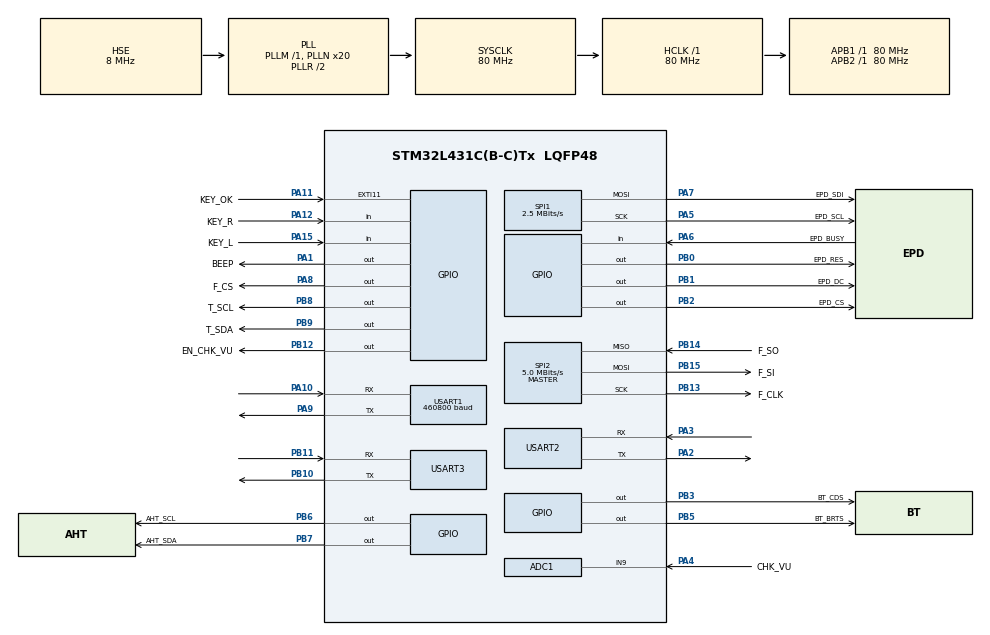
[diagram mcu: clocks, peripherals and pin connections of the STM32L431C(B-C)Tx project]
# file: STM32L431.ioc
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ADC1.Channel-1\#ChannelRegularConversion=ADC_CHANNEL_9
ADC1.NbrOfConversionFlag=1
ADC1.OffsetNumber-1\#ChannelRegularConversion=ADC_OFFSET_NONE
ADC1.Rank-1\#ChannelRegularConversion=1
ADC1.SamplingTime-1\#ChannelRegularConversion=ADC_SAMPLETIME_12CYCLES_5
ADC1.master=1
Dma.Request0=USART1_RX
Dma.Request1=USART1_TX
Dma.USART1_RX.0.Direction=DMA_PERIPH_TO_MEMORY
Dma.USART1_RX.0.Instance=DMA1_Channel5
Dma.USART1_RX.0.MemDataAlignment=DMA_MDATAALIGN_BYTE
Dma.USART1_RX.0.MemInc=DMA_MINC_ENABLE
Dma.USART1_RX.0.Mode=DMA_CIRCULAR
Dma.USART1_RX.0.PeriphDataAlignment=DMA_PDATAALIGN_BYTE
Dma.USART1_RX.0.PeriphInc=DMA_PINC_DISABLE
Dma.USART1_RX.0.Priority=DMA_PRIORITY_LOW
Dma.USART1_TX.1.Direction=DMA_MEMORY_TO_PERIPH
Dma.USART1_TX.1.Instance=DMA1_Channel4
Dma.USART1_TX.1.MemDataAlignment=DMA_MDATAALIGN_BYTE
Dma.USART1_TX.1.MemInc=DMA_MINC_ENABLE
Dma.USART1_TX.1.Mode=DMA_NORMAL
Dma.USART1_TX.1.PeriphDataAlignment=DMA_PDATAALIGN_BYTE
Dma.USART1_TX.1.PeriphInc=DMA_PINC_DISABLE
Dma.USART1_TX.1.Priority=DMA_PRIORITY_LOW
FREERTOS.Tasks01=defaultTask,0,128,StartDefaultTask,Default,NULL,Dynamic,NULL,NULL
FREERTOS.configMAX_PRIORITIES=16
FREERTOS.configTOTAL_HEAP_SIZE=15360
FREERTOS.configUSE_TICKLESS_IDLE=1
Mcu.Family=STM32L4
Mcu.Name=STM32L431C(B-C)Tx
Mcu.Package=LQFP48
NVIC.DMA1_Channel4_IRQn=true\:9\:0\:true\:false\:true\:true\:false\:true\:true
NVIC.DMA1_Channel5_IRQn=true\:9\:0\:true\:false\:true\:true\:false\:true\:true
NVIC.EXTI15_10_IRQn=true\:9\:0\:true\:false\:true\:true\:true\:true\:true
NVIC.PriorityGroup=NVIC_PRIORITYGROUP_4
NVIC.RTC_Alarm_IRQn=true\:10\:0\:true\:false\:true\:true\:true\:true\:true
NVIC.TIM1_UP_TIM16_IRQn=true\:15\:0\:false\:false\:true\:false\:false\:true\:true
NVIC.TimeBase=TIM1_UP_TIM16_IRQn
NVIC.TimeBaseIP=TIM1
NVIC.USART1_IRQn=true\:7\:0\:true\:false\:true\:true\:true\:true\:true
NVIC.USART2_IRQn=true\:7\:0\:true\:false\:true\:true\:true\:true\:true
PA1.GPIO_Label=BEEP
PA1.GPIO_ModeDefaultOutputPP=GPIO_MODE_OUTPUT_PP
PA1.GPIO_PuPd=GPIO_PULLUP
PA1.GPIO_Speed=GPIO_SPEED_FREQ_HIGH
PA1.PinState=GPIO_PIN_RESET
PA1.Signal=GPIO_Output
PA10.Mode=Asynchronous
PA10.Signal=USART1_RX
PA11.GPIO_Label=KEY_OK
PA11.GPIO_PuPd=GPIO_PULLUP
PA11.Signal=GPXTI11
PA12.GPIO_Label=KEY_R
PA12.GPIO_PuPd=GPIO_PULLUP
PA12.Signal=GPIO_Input
PA13\ (JTMS-SWDIO).Mode=Serial_Wire
PA13\ (JTMS-SWDIO).Signal=SYS_JTMS-SWDIO
PA14\ (JTCK-SWCLK).Mode=Serial_Wire
PA14\ (JTCK-SWCLK).Signal=SYS_JTCK-SWCLK
PA15\ (JTDI).GPIO_Label=KEY_L
PA15\ (JTDI).GPIO_PuPd=GPIO_PULLUP
PA15\ (JTDI).Signal=GPIO_Input
PA2.Mode=Asynchronous
PA2.Signal=USART2_TX
PA3.Mode=Asynchronous
PA3.Signal=USART2_RX
PA4.GPIO_Label=CHK_VU
PA4.Signal=ADCx_IN9
PA5.GPIO_Label=EPD_SCL
PA5.Mode=TX_Only_Simplex_Unidirect_Master
PA5.Signal=SPI1_SCK
PA6.GPIO_Label=EPD_BUSY
PA6.GPIO_PuPd=GPIO_PULLDOWN
PA6.Signal=GPIO_Input
PA7.GPIO_Label=EPD_SDI
PA7.Mode=TX_Only_Simplex_Unidirect_Master
PA7.Signal=SPI1_MOSI
PA8.GPIO_Label=F_CS
PA8.GPIO_Speed=GPIO_SPEED_FREQ_HIGH
PA8.Signal=GPIO_Output
PA9.Mode=Asynchronous
PA9.Signal=USART1_TX
PB0.GPIO_Label=EPD_RES
PB0.GPIO_Speed=GPIO_SPEED_FREQ_HIGH
PB0.PinState=GPIO_PIN_RESET
PB0.Signal=GPIO_Output
PB1.GPIO_Label=EPD_DC
PB1.GPIO_Speed=GPIO_SPEED_FREQ_HIGH
PB1.Signal=GPIO_Output
PB10.Mode=Asynchronous
PB10.Signal=USART3_TX
PB11.Mode=Asynchronous
PB11.Signal=USART3_RX
PB12.GPIO_Label=EN_CHK_VU
PB12.GPIO_Speed=GPIO_SPEED_FREQ_HIGH
PB12.Signal=GPIO_Output
PB13.GPIO_Label=F_CLK
PB13.Mode=Full_Duplex_Master
PB13.Signal=SPI2_SCK
PB14.GPIO_Label=F_SO
PB14.Mode=Full_Duplex_Master
PB14.Signal=SPI2_MISO
PB15.GPIO_Label=F_SI
PB15.Mode=Full_Duplex_Master
PB15.Signal=SPI2_MOSI
PB2.GPIO_Label=EPD_CS
PB2.GPIO_Speed=GPIO_SPEED_FREQ_HIGH
PB2.Signal=GPIO_Output
PB3\ (JTDO-TRACESWO).GPIO_Label=BT_CDS
PB3\ (JTDO-TRACESWO).GPIO_ModeDefaultOutputPP=GPIO_MODE_OUTPUT_PP
PB3\ (JTDO-TRACESWO).GPIO_PuPd=GPIO_NOPULL
PB3\ (JTDO-TRACESWO).GPIO_Speed=GPIO_SPEED_FREQ_LOW
PB3\ (JTDO-TRACESWO).PinState=GPIO_PIN_SET
PB3\ (JTDO-TRACESWO).Signal=GPIO_Output
PB5.GPIO_Label=BT_BRTS
PB5.GPIO_PuPd=GPIO_NOPULL
PB5.GPIO_Speed=GPIO_SPEED_FREQ_LOW
PB5.Signal=GPIO_Output
PB6.GPIO_Label=AHT_SCL
PB6.GPIO_Speed=GPIO_SPEED_FREQ_HIGH
PB6.Signal=GPIO_Output
PB7.GPIO_Label=AHT_SDA
PB7.GPIO_Speed=GPIO_SPEED_FREQ_HIGH
PB7.Signal=GPIO_Output
PB8.GPIO_Label=T_SCL
PB8.GPIO_ModeDefaultOutputPP=GPIO_MODE_OUTPUT_OD
PB8.GPIO_PuPd=GPIO_PULLUP
PB8.GPIO_Speed=GPIO_SPEED_FREQ_HIGH
PB8.Signal=GPIO_Output
PB9.GPIO_Label=T_SDA
PB9.GPIO_ModeDefaultOutputPP=GPIO_MODE_OUTPUT_OD
PB9.GPIO_PuPd=GPIO_PULLUP
PB9.GPIO_Speed=GPIO_SPEED_FREQ_HIGH
PB9.Signal=GPIO_Output
PC14-OSC32_IN\ (PC14).Mode=LSE-External-Oscillator
PC14-OSC32_IN\ (PC14).Signal=RCC_OSC32_IN
PC15-OSC32_OUT\ (PC15).Mode=LSE-External-Oscillator
PC15-OSC32_OUT\ (PC15).Signal=RCC_OSC32_OUT
PH0-OSC_IN\ (PH0).Mode=HSE-External-Clock-Source
PH0-OSC_IN\ (PH0).Signal=RCC_OSC_IN
ProjectManager.HeapSize=0x400
ProjectManager.StackSize=0x800
ProjectManager.TargetToolchain=MDK-ARM V5.32
RCC.ADCFreq_Value=80000000
RCC.AHBFreq_Value=80000000
RCC.APB1Freq_Value=80000000
RCC.APB1TimFreq_Value=80000000
RCC.APB2Freq_Value=80000000
RCC.APB2TimFreq_Value=80000000
RCC.CortexFreq_Value=80000000
RCC.HCLKFreq_Value=80000000
RCC.HSE_VALUE=8000000
RCC.HSI48_VALUE=48000000
RCC.HSI_VALUE=16000000
RCC.MSI_VALUE=4000000
RCC.PLLN=20
RCC.PLLSAI1N=20
RCC.PLLSourceVirtual=RCC_PLLSOURCE_HSE
RCC.RTCClockSelection=RCC_RTCCLKSOURCE_LSE
RCC.SYSCLKFreq_VALUE=80000000
RCC.SYSCLKSource=RCC_SYSCLKSOURCE_PLLCLK
RCC.VCOOutputFreq_Value=160000000
RTC.Alarm-Alarm\ A=RTC_ALARM_A
RTC.AlarmMaskDateWeekDay-Alarm\ A=RTC_ALARMMASK_DATEWEEKDAY
RTC.AlarmMaskHours-Alarm\ A=RTC_ALARMMASK_HOURS
RTC.AlarmMaskMinutes-Alarm\ A=RTC_ALARMMASK_MINUTES
SH.ADCx_IN9.0=ADC1_IN9,IN9-Single-Ended
SPI1.BaudRatePrescaler=SPI_BAUDRATEPRESCALER_32
SPI1.CalculateBaudRate=2.5 MBits/s
SPI1.DataSize=SPI_DATASIZE_8BIT
SPI1.Direction=SPI_DIRECTION_2LINES
SPI1.Mode=SPI_MODE_MASTER
SPI1.NSSPMode=SPI_NSS_PULSE_ENABLE
SPI1.VirtualType=VM_MASTER
SPI2.BaudRatePrescaler=SPI_BAUDRATEPRESCALER_16
SPI2.CLKPhase=SPI_PHASE_1EDGE
SPI2.CalculateBaudRate=5.0 MBits/s
SPI2.DataSize=SPI_DATASIZE_8BIT
SPI2.Direction=SPI_DIRECTION_2LINES
SPI2.Mode=SPI_MODE_MASTER
SPI2.VirtualType=VM_MASTER
USART1.BaudRate=460800
USART1.VirtualMode-Asynchronous=VM_ASYNC
USART2.VirtualMode-Asynchronous=VM_ASYNC
USART3.VirtualMode-Asynchronous=VM_ASYNC
VP_FREERTOS_VS_CMSIS_V1.Mode=CMSIS_V1
VP_RTC_VS_RTC_Activate.Mode=RTC_Enabled
VP_RTC_VS_RTC_Alarm_A_Intern.Mode=Alarm A
VP_RTC_VS_RTC_Calendar.Mode=RTC_Calendar
VP_SYS_VS_tim1.Mode=TIM1
board=custom

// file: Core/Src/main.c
/* USER CODE BEGIN Header */
/**
  ******************************************************************************
  * @file           : main.c
  * @brief          : Main program body
  ******************************************************************************
  * @attention
  *
  * Copyright (c) 2025 STMicroelectronics.
  * All rights reserved.
  *
  * This software is licensed under terms that can be found in the LICENSE file
  * in the root directory of this software component.
  * If no LICENSE file comes with this software, it is provided AS-IS.
  *
  ******************************************************************************
  */
/* USER CODE END Header */
#include "main.h"
#include "cmsis_os.h"
#include "adc.h"
#include "dma.h"
#include "rtc.h"
#include "spi.h"
#include "usart.h"
#include "gpio.h"

/* USER CODE BEGIN Includes */
#include "ATcmd.h"
#include "aht20.h"
#include "ds1307.h"
#include "w25qxx.h"
#include "DEV_Config.h"
#include "EPD_Command.h"
#include "GUI_Paint.h"
#include "Button.h"
#include "TEST.h"
#include "gbkfont.h"
/* USER CODE END Includes */

/* USER CODE BEGIN PTD */
TaskHandle_t StartTask_Handler;
void start_task(void *pvParameters);
TaskHandle_t RTC_AlarmATask_Handle;
void RTC_AlarmATask(void *argument);

/* USER CODE END PTD */

void SystemClock_Config(void);
void MX_FREERTOS_Init(void);

int main(void)
{

  /* MCU Configuration--------------------------------------------------------*/

  /* Reset of all peripherals, Initializes the Flash interface and the Systick. */
  HAL_Init();

  /* Configure the system clock */
  SystemClock_Config();

  /* Initialize all configured peripherals */
  MX_GPIO_Init();
  MX_DMA_Init();
  MX_ADC1_Init();
  MX_SPI1_Init();
  MX_SPI2_Init();
  MX_USART1_UART_Init();
  MX_USART2_UART_Init();
  MX_USART3_UART_Init();
  MX_RTC_Init();
  /* USER CODE BEGIN 2 */
//	DWT_Init();
	AHT20_Init();
	W25QXX_Init();
//	HAL_GPIO_WritePin(BT_CDS_GPIO_Port,BT_CDS_Pin,GPIO_PIN_SET);
//	HAL_GPIO_WritePin(BT_BRTS_GPIO_Port,BT_BRTS_Pin,GPIO_PIN_RESET);
//	HAL_GPIO_WritePin(BEEP_GPIO_Port,BEEP_Pin,GPIO_PIN_SET);

	rtcAlarmASemaphore = xSemaphoreCreateBinary();

  /* USER CODE END 2 */

  /* Call init function for freertos objects (in freertos.c) */
  MX_FREERTOS_Init();

  /* Start scheduler */
//  osKernelStart();
  /* We should never get here as control is now taken by the scheduler */
  /* Infinite loop */
  /* USER CODE BEGIN WHILE */
    xTaskCreate((TaskFunction_t )start_task,
                (const char*    )"start_task",
                (uint16_t       )128,
                (void*          )NULL,
                (UBaseType_t    )1,
                (TaskHandle_t*  )&StartTask_Handler);
    osKernelStart();
  while (1)
  {
    /* USER CODE END WHILE */

  }
}

void SystemClock_Config(void)
{
  RCC_OscInitTypeDef RCC_OscInitStruct = {0};
  RCC_ClkInitTypeDef RCC_ClkInitStruct = {0};

  /** Configure the main internal regulator output voltage
  */
  if (HAL_PWREx_ControlVoltageScaling(PWR_REGULATOR_VOLTAGE_SCALE1) != HAL_OK)
  {
    Error_Handler();
  }

  /** Configure LSE Drive Capability
  */
  HAL_PWR_EnableBkUpAccess();
  __HAL_RCC_LSEDRIVE_CONFIG(RCC_LSEDRIVE_LOW);

  /** Initializes the RCC Oscillators according to the specified parameters
  * in the RCC_OscInitTypeDef structure.
  */
  RCC_OscInitStruct.OscillatorType = RCC_OSCILLATORTYPE_HSE|RCC_OSCILLATORTYPE_LSE;
  RCC_OscInitStruct.HSEState = RCC_HSE_BYPASS;
  RCC_OscInitStruct.LSEState = RCC_LSE_ON;
  RCC_OscInitStruct.PLL.PLLState = RCC_PLL_ON;
  RCC_OscInitStruct.PLL.PLLSource = RCC_PLLSOURCE_HSE;
  RCC_OscInitStruct.PLL.PLLM = 1;
  RCC_OscInitStruct.PLL.PLLN = 20;
  RCC_OscInitStruct.PLL.PLLP = RCC_PLLP_DIV7;
  RCC_OscInitStruct.PLL.PLLQ = RCC_PLLQ_DIV2;
  RCC_OscInitStruct.PLL.PLLR = RCC_PLLR_DIV2;
  if (HAL_RCC_OscConfig(&RCC_OscInitStruct) != HAL_OK)
  {
    Error_Handler();
  }

  /** Initializes the CPU, AHB and APB buses clocks
  */
  RCC_ClkInitStruct.ClockType = RCC_CLOCKTYPE_HCLK|RCC_CLOCKTYPE_SYSCLK
                              |RCC_CLOCKTYPE_PCLK1|RCC_CLOCKTYPE_PCLK2;
  RCC_ClkInitStruct.SYSCLKSource = RCC_SYSCLKSOURCE_PLLCLK;
  RCC_ClkInitStruct.AHBCLKDivider = RCC_SYSCLK_DIV1;
  RCC_ClkInitStruct.APB1CLKDivider = RCC_HCLK_DIV1;
  RCC_ClkInitStruct.APB2CLKDivider = RCC_HCLK_DIV1;

  if (HAL_RCC_ClockConfig(&RCC_ClkInitStruct, FLASH_LATENCY_4) != HAL_OK)
  {
    Error_Handler();
  }
}

/* USER CODE BEGIN 4 */
void Printf(void *pvParameters);

void start_task(void *pvParameters)
{
//	updata_fontx();
    taskENTER_CRITICAL();
    xTaskCreate((TaskFunction_t )RTC_AlarmATask,
                (const char*    )"RTC_WakeupTask",
                (uint16_t       )128,
                (void*          )NULL,
                (UBaseType_t    )2,
                (TaskHandle_t*  )&RTC_AlarmATask_Handle);

//		xTaskCreate((TaskFunction_t )Printf,
//                (const char*    )"Printf",
//                (uint16_t       )64,
//                (void*          )NULL,
//                (UBaseType_t    )2,
//                (TaskHandle_t*  )NULL);
				taskEXIT_CRITICAL();
				vTaskDelete(StartTask_Handler);
}

void AllInit()
{
		SystemClock_Config();
		MX_GPIO_Init();
		MX_DMA_Init();
		HAL_ADC_MspInit(&hadc1);
		MX_ADC1_Init();
		HAL_SPI_MspInit(&hspi1);
		MX_SPI1_Init();
		HAL_SPI_MspInit(&hspi2);
		MX_SPI2_Init();
		HAL_UART_MspInit(&huart1);
		HAL_UART_MspInit(&huart2);
		HAL_UART_MspInit(&huart3);
		MX_USART1_UART_Init();
		MX_USART2_UART_Init();
		MX_USART3_UART_Init();
//		MX_RTC_Init();
//		DWT_Init();
		AHT20_Init();
		W25QXX_Init();
}

void RTC_AlarmATask(void *argument)
{
//		HAL_PWREx_EnterSTOP2Mode(PWR_STOPENTRY_WFI);
		while(1)
		{
//					AllInit();
//					printf("WKUPTask Run\r\n");
//					vTaskDelay(100);
					HAL_PWREx_EnterSTOP2Mode(PWR_STOPENTRY_WFI);
        if(xSemaphoreTake(rtcAlarmASemaphore, portMAX_DELAY) == pdTRUE)
        {
					AllInit();
					printf("RTC_AlarmATask Run\r\n");
					Get_RTC_Time();
					HAL_PWREx_EnterSTOP2Mode(PWR_STOPENTRY_WFI);
        }
    }
}

void Printf(void *pvParameters)
{
	while(1)
	{
		printf("sys run\r\n");
		vTaskDelay(1000);
	}
}

/* USER CODE END 4 */

void HAL_TIM_PeriodElapsedCallback(TIM_HandleTypeDef *htim)
{
  if (htim->Instance == TIM1) {
    HAL_IncTick();
  }
}

void Error_Handler(void)
{
  __disable_irq();
  while (1)
  {
  }
}
